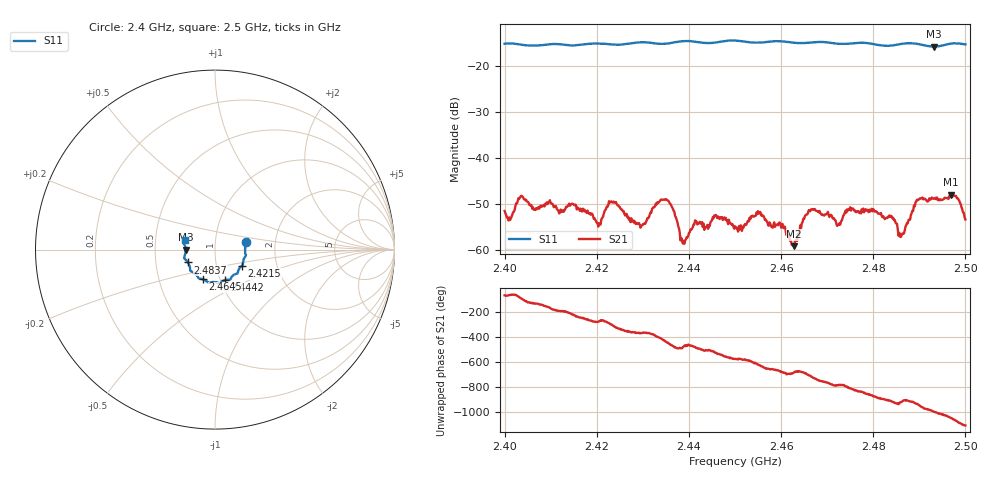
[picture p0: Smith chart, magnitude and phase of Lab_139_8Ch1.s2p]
# Hz S RI R 50
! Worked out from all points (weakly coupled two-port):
!   601 points, 2.4 GHz to 2.5 GHz, reference 50 ohm
!   highest |S21| = -48.04 dB at 2.4968 GHz (marker M1); lowest = -59.3 dB at 2.4628 GHz (marker M2)
!   lowest |S11| = -15.7 dB at 2.4932 GHz (marker M3), VSWR 1.39, Z = 35.9 - j0.046 ohm
!   |S11| at or under -10 dB: start of sweep to end of sweep
!   S12 and S22 are empty: the file has one direction only
!   S11 on the Smith chart (normalised r, x): 2.4 GHz: 1.41, +0.12; 2.4215 GHz: 1.33, -0.25; 2.4442 GHz: 1.05, -0.37; 2.4645 GHz: 0.83, -0.29; 2.4837 GHz: 0.73, -0.11; 2.5 GHz: 0.71, +0.07
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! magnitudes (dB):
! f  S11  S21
! 2.4 GHz  -15.1  -51.6
! 2.4035 GHz  -15.3  -48.4
! 2.4167 GHz  -15.3  -51.4
! 2.4215 GHz  -15.1  -52.3
! 2.4237 GHz  -15.3  -49.5
! 2.43 GHz  -14.8  -54.5
! 2.4333 GHz  -15.1  -49.8
! 2.436 GHz  -15.0  -50.1
! 2.4387 GHz  -14.5  -58.7
! 2.4442 GHz  -15.0  -55.5
! 2.45 GHz  -14.4  -54.9
! 2.4552 GHz  -14.9  -52.1
! 2.4628 GHz  -14.9  -59.3
! 2.4645 GHz  -15.0  -54.3
! 2.4667 GHz  -14.8  -51.2
! 2.4833 GHz  -15.6  -52.9
! 2.4837 GHz  -15.5  -52.9
! 2.486 GHz  -15.1  -57.3
! 2.4897 GHz  -15.2  -49.2
! 2.4932 GHz  -15.7  -48.9
! 2.4968 GHz  -15.1  -48.0
! 2.5 GHz  -15.3  -53.4
